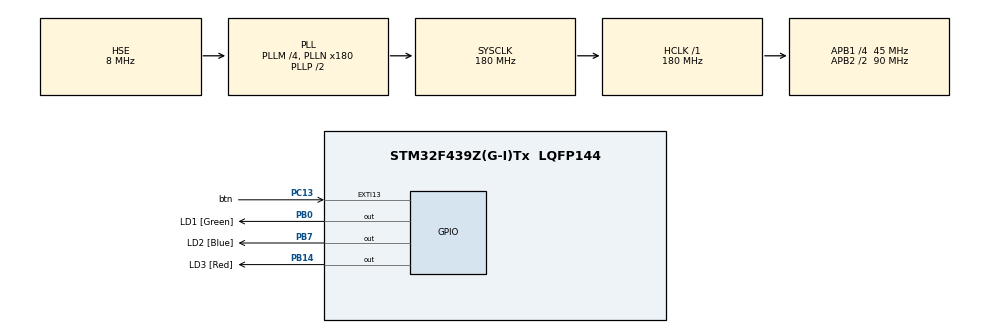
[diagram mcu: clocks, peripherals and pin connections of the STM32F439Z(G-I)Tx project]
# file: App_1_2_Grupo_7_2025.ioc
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Mcu.Family=STM32F4
Mcu.Name=STM32F439Z(G-I)Tx
Mcu.Package=LQFP144
NVIC.EXTI15_10_IRQn=true\:0\:0\:false\:false\:true\:true\:true\:true
NVIC.PriorityGroup=NVIC_PRIORITYGROUP_4
PB0.GPIO_Label=LD1 [Green]
PB0.Signal=GPIO_Output
PB14.GPIO_Label=LD3 [Red]
PB14.Signal=GPIO_Output
PB7.GPIO_Label=LD2 [Blue]
PB7.Signal=GPIO_Output
PC13.GPIO_Label=btn
PC13.GPIO_ModeDefaultEXTI=GPIO_MODE_IT_RISING
PC13.Signal=GPXTI13
PH0/OSC_IN.Mode=HSE-External-Oscillator
PH0/OSC_IN.Signal=RCC_OSC_IN
PH1/OSC_OUT.Mode=HSE-External-Oscillator
PH1/OSC_OUT.Signal=RCC_OSC_OUT
ProjectManager.HeapSize=0x200
ProjectManager.StackSize=0x400
ProjectManager.TargetToolchain=STM32CubeIDE
RCC.48MHZClocksFreq_Value=51428571.428571425
RCC.AHBFreq_Value=180000000
RCC.APB1CLKDivider=RCC_HCLK_DIV4
RCC.APB1Freq_Value=45000000
RCC.APB1TimFreq_Value=90000000
RCC.APB2CLKDivider=RCC_HCLK_DIV2
RCC.APB2Freq_Value=90000000
RCC.APB2TimFreq_Value=180000000
RCC.CortexFreq_Value=180000000
RCC.HCLKFreq_Value=180000000
RCC.HSE_VALUE=8000000
RCC.HSI_VALUE=16000000
RCC.PLLM=4
RCC.PLLMUL=RCC_PLL_MUL9
RCC.PLLN=180
RCC.PLLQ=7
RCC.PLLSourceVirtual=RCC_PLLSOURCE_HSE
RCC.PRESCALERUSB=RCC_USBCLKSOURCE_PLL_DIV1_5
RCC.SYSCLKFreq_VALUE=180000000
RCC.SYSCLKSource=RCC_SYSCLKSOURCE_PLLCLK
RCC.SYSCLKSourceVirtual=RCC_SYSCLKSOURCE_PLLCLK
RCC.USBFreq_Value=48000000
RCC.VCOOutputFreq_Value=360000000
board=NUCLEO-F439ZI

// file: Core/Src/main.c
/* USER CODE BEGIN Header */
/**
 ******************************************************************************
 * @file           : main.c
 * @brief          : Main program body
 ******************************************************************************
 *
 *Alumnos:
 *Ballesteros, Gabriela Elizabeth
 *Tejerina, Damaris Carla Marianela
 *Mamani Flores, Carlos Alejandro
 ******************************************************************************
 */
/* USER CODE END Header */
#include "main.h"

/* USER CODE BEGIN Includes */
#include <stdbool.h>			//Se agrega esta libreria para el manejo de variables booleanas
/* USER CODE END Includes */

/* USER CODE BEGIN PV */
#define n_leds 2			//cantidad de leds - 1
#define demora 200			//Etiqueta de tiempo para el delay

uint16_t Leds [10] = {LD1_Pin, LD2_Pin, LD3_Pin};			//Array de leds
uint8_t contador;
bool estado  = 0;
/* USER CODE END PV */

void SystemClock_Config(void);
static void MX_GPIO_Init(void);

int main(void)
{

  /* MCU Configuration--------------------------------------------------------*/

  /* Reset of all peripherals, Initializes the Flash interface and the Systick. */
  HAL_Init();

  /* Configure the system clock */
  SystemClock_Config();

  /* Initialize all configured peripherals */
  MX_GPIO_Init();

  /* Infinite loop */
	while (1)
	{

    /* USER CODE BEGIN 3 */
//Como la variable estado inicializa en cero y mientras el boton no sea pulsado se ejecutara el ELSE del siguiente condicional
		if(estado){			//Cuando presione el boton automaticamente ingresa la rutina por el IF
			for (contador = 0; contador <= n_leds ; contador++) {		//Esta estructura FOR cuenta hasta la cantidad de leds conectados

				//Enciente y apaga secuencialmente cada LED de forma decreciente
				HAL_GPIO_WritePin(GPIOB, Leds[n_leds - contador], GPIO_PIN_SET);
				HAL_Delay(demora);
				HAL_GPIO_WritePin(GPIOB, Leds[n_leds - contador], GPIO_PIN_RESET);
				HAL_Delay(demora);
			}
		}else{
			for (contador = 0; contador <= n_leds ; contador++) {		//Esta estructura FOR cuenta hasta la cantidad de leds conectados

				//Enciente y apaga secuencialmente cada LED de forma decreciente
				HAL_GPIO_WritePin(GPIOB, Leds[contador], GPIO_PIN_SET);
				HAL_Delay(demora);
				HAL_GPIO_WritePin(GPIOB, Leds[contador], GPIO_PIN_RESET);
				HAL_Delay(demora);
			}
		}
	}
  /* USER CODE END 3 */
}

void SystemClock_Config(void)
{
  RCC_OscInitTypeDef RCC_OscInitStruct = {0};
  RCC_ClkInitTypeDef RCC_ClkInitStruct = {0};

  /** Configure the main internal regulator output voltage
  */
  __HAL_RCC_PWR_CLK_ENABLE();
  __HAL_PWR_VOLTAGESCALING_CONFIG(PWR_REGULATOR_VOLTAGE_SCALE1);

  /** Initializes the RCC Oscillators according to the specified parameters
  * in the RCC_OscInitTypeDef structure.
  */
  RCC_OscInitStruct.OscillatorType = RCC_OSCILLATORTYPE_HSE;
  RCC_OscInitStruct.HSEState = RCC_HSE_ON;
  RCC_OscInitStruct.PLL.PLLState = RCC_PLL_ON;
  RCC_OscInitStruct.PLL.PLLSource = RCC_PLLSOURCE_HSE;
  RCC_OscInitStruct.PLL.PLLM = 4;
  RCC_OscInitStruct.PLL.PLLN = 180;
  RCC_OscInitStruct.PLL.PLLP = RCC_PLLP_DIV2;
  RCC_OscInitStruct.PLL.PLLQ = 7;
  if (HAL_RCC_OscConfig(&RCC_OscInitStruct) != HAL_OK)
  {
    Error_Handler();
  }

  /** Activate the Over-Drive mode
  */
  if (HAL_PWREx_EnableOverDrive() != HAL_OK)
  {
    Error_Handler();
  }

  /** Initializes the CPU, AHB and APB buses clocks
  */
  RCC_ClkInitStruct.ClockType = RCC_CLOCKTYPE_HCLK|RCC_CLOCKTYPE_SYSCLK
                              |RCC_CLOCKTYPE_PCLK1|RCC_CLOCKTYPE_PCLK2;
  RCC_ClkInitStruct.SYSCLKSource = RCC_SYSCLKSOURCE_PLLCLK;
  RCC_ClkInitStruct.AHBCLKDivider = RCC_SYSCLK_DIV1;
  RCC_ClkInitStruct.APB1CLKDivider = RCC_HCLK_DIV4;
  RCC_ClkInitStruct.APB2CLKDivider = RCC_HCLK_DIV2;

  if (HAL_RCC_ClockConfig(&RCC_ClkInitStruct, FLASH_LATENCY_5) != HAL_OK)
  {
    Error_Handler();
  }
}

static void MX_GPIO_Init(void)
{
  GPIO_InitTypeDef GPIO_InitStruct = {0};

  /* GPIO Ports Clock Enable */
  __HAL_RCC_GPIOC_CLK_ENABLE();
  __HAL_RCC_GPIOH_CLK_ENABLE();
  __HAL_RCC_GPIOB_CLK_ENABLE();

  /*Configure GPIO pin Output Level */
  HAL_GPIO_WritePin(GPIOB, LD1_Pin|LD3_Pin|LD2_Pin, GPIO_PIN_RESET);

  /*Configure GPIO pin : btn_Pin */
  GPIO_InitStruct.Pin = btn_Pin;
  GPIO_InitStruct.Mode = GPIO_MODE_IT_RISING;
  GPIO_InitStruct.Pull = GPIO_NOPULL;
  HAL_GPIO_Init(btn_GPIO_Port, &GPIO_InitStruct);

  /*Configure GPIO pins : LD1_Pin LD3_Pin LD2_Pin */
  GPIO_InitStruct.Pin = LD1_Pin|LD3_Pin|LD2_Pin;
  GPIO_InitStruct.Mode = GPIO_MODE_OUTPUT_PP;
  GPIO_InitStruct.Pull = GPIO_NOPULL;
  GPIO_InitStruct.Speed = GPIO_SPEED_FREQ_LOW;
  HAL_GPIO_Init(GPIOB, &GPIO_InitStruct);

  /* EXTI interrupt init*/
  HAL_NVIC_SetPriority(EXTI15_10_IRQn, 0, 0);
  HAL_NVIC_EnableIRQ(EXTI15_10_IRQn);

}

/* USER CODE BEGIN 4 */

//Funcion que es llamada cuando se detecta una interrupcion externa NVIC desde el pulsador PC13
void HAL_GPIO_EXTI_Callback(uint16_t GPIO_Pin)
{
	if(GPIO_Pin == btn_Pin){			//Compruebo que el boton haya sido pulsado
		HAL_GPIO_WritePin(GPIOB, LD1_Pin|LD2_Pin|LD3_Pin, GPIO_PIN_RESET); 		//Seteo a nivel bajo los pines conectados a los leds
		estado = !estado;				//Cambio el estado booleano inicial de la variable estado a su estado negado
	}
}
/* USER CODE END 4 */

void Error_Handler(void)
{
	__disable_irq();
	while (1)
	{
	}
}
